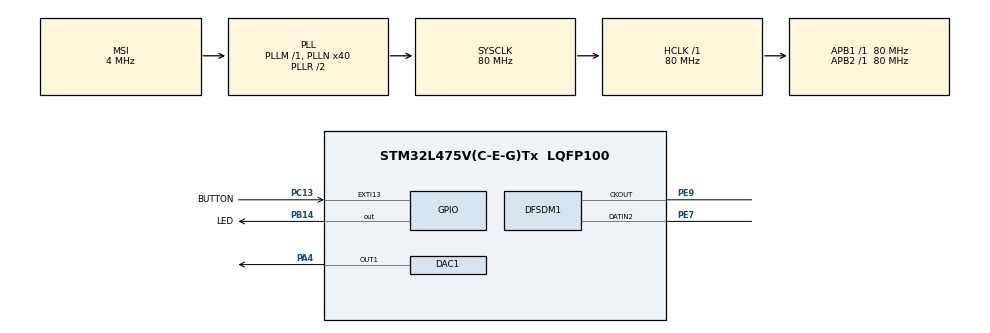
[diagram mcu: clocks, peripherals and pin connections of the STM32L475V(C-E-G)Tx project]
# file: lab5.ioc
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DAC1.DAC_Trigger-DAC_OUT1=DAC_TRIGGER_T2_TRGO
DFSDM1.Divider=40
DFSDM1.DmaMode_reg_FIL0=ENABLE
DFSDM1.FastMode_reg_FIL0=ENABLE
DFSDM1.Filter_regChannel_FIL0=DFSDM_CHANNEL_2
DFSDM1.Fosr_FIL0=100
DFSDM1.SincOrder_FIL0=DFSDM_FILTER_SINC3_ORDER
Dma.DAC_CH1.0.Direction=DMA_MEMORY_TO_PERIPH
Dma.DAC_CH1.0.Instance=DMA1_Channel3
Dma.DAC_CH1.0.MemDataAlignment=DMA_MDATAALIGN_WORD
Dma.DAC_CH1.0.MemInc=DMA_MINC_ENABLE
Dma.DAC_CH1.0.Mode=DMA_CIRCULAR
Dma.DAC_CH1.0.PeriphDataAlignment=DMA_PDATAALIGN_WORD
Dma.DAC_CH1.0.PeriphInc=DMA_PINC_DISABLE
Dma.DAC_CH1.0.Priority=DMA_PRIORITY_LOW
Dma.DFSDM1_FLT0.1.Direction=DMA_PERIPH_TO_MEMORY
Dma.DFSDM1_FLT0.1.Instance=DMA1_Channel4
Dma.DFSDM1_FLT0.1.MemDataAlignment=DMA_MDATAALIGN_WORD
Dma.DFSDM1_FLT0.1.MemInc=DMA_MINC_ENABLE
Dma.DFSDM1_FLT0.1.Mode=DMA_NORMAL
Dma.DFSDM1_FLT0.1.PeriphDataAlignment=DMA_PDATAALIGN_WORD
Dma.DFSDM1_FLT0.1.PeriphInc=DMA_PINC_DISABLE
Dma.DFSDM1_FLT0.1.Priority=DMA_PRIORITY_LOW
Dma.Request0=DAC_CH1
Dma.Request1=DFSDM1_FLT0
Mcu.Family=STM32L4
Mcu.Name=STM32L475V(C-E-G)Tx
Mcu.Package=LQFP100
NVIC.DFSDM1_FLT0_IRQn=true\:0\:0\:false\:false\:true\:true\:true
NVIC.DMA1_Channel3_IRQn=true\:0\:0\:false\:false\:true\:false\:true
NVIC.DMA1_Channel4_IRQn=true\:0\:0\:false\:false\:true\:false\:true
NVIC.EXTI15_10_IRQn=true\:0\:0\:false\:false\:true\:true\:true
NVIC.PriorityGroup=NVIC_PRIORITYGROUP_4
NVIC.TIM2_IRQn=true\:0\:0\:false\:false\:true\:true\:true
PA4.Signal=COMP_DAC11_group
PB14.GPIO_Label=LED
PB14.Signal=GPIO_Output
PC13.GPIO_Label=BUTTON
PC13.GPIO_ModeDefaultEXTI=GPIO_MODE_IT_FALLING
PC13.Signal=GPXTI13
PE7.Signal=S_DATAIN2DFSDM1
PE9.Signal=S_CKOUTDFSDM1
ProjectManager.HeapSize=0x200
ProjectManager.StackSize=0x400
ProjectManager.TargetToolchain=STM32CubeIDE
RCC.ADCFreq_Value=48000000
RCC.AHBFreq_Value=80000000
RCC.APB1Freq_Value=80000000
RCC.APB1TimFreq_Value=80000000
RCC.APB2Freq_Value=80000000
RCC.APB2TimFreq_Value=80000000
RCC.CortexFreq_Value=80000000
RCC.HCLKFreq_Value=80000000
RCC.HSE_VALUE=8000000
RCC.HSI_VALUE=16000000
RCC.LSE_VALUE=32768
RCC.MSI_VALUE=4000000
RCC.PLLN=40
RCC.PLLSAI1N=24
RCC.SYSCLKFreq_VALUE=80000000
RCC.SYSCLKSource=RCC_SYSCLKSOURCE_PLLCLK
RCC.USBFreq_Value=48000000
RCC.VCOOutputFreq_Value=160000000
SH.COMP_DAC11_group.0=DAC1_OUT1,DAC_OUT1
SH.S_CKOUTDFSDM1.0=DFSDM1_CKOUT,PDM_SPI_input_from_ch2_and_internal_clock
SH.S_DATAIN2DFSDM1.0=DFSDM1_DATIN2,PDM_SPI_input_from_ch2_and_internal_clock
TIM2.Period=4000
TIM2.TIM_MasterOutputTrigger=TIM_TRGO_UPDATE
VP_TIM2_VS_ClockSourceINT.Mode=Internal
board=B-L475E-IOT01A1

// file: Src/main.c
/* USER CODE BEGIN Header */
/**
  ******************************************************************************
  * @file           : main.c
  * @brief          : Main program body
  ******************************************************************************
  * @attention
  *
  * <h2><center>&copy; Copyright (c) 2020 STMicroelectronics.
  * All rights reserved.</center></h2>
  *
  * This software component is licensed by ST under BSD 3-Clause license,
  * the "License"; You may not use this file except in compliance with the
  * License. You may obtain a copy of the License at:
  *                        opensource.org/licenses/BSD-3-Clause
  *
  ******************************************************************************
  */
/* USER CODE END Header */
#include "main.h"

DAC_HandleTypeDef hdac1;
DMA_HandleTypeDef hdma_dac_ch1;

DFSDM_Filter_HandleTypeDef hdfsdm1_filter0;
DFSDM_Channel_HandleTypeDef hdfsdm1_channel2;
DMA_HandleTypeDef hdma_dfsdm1_flt0;

TIM_HandleTypeDef htim2;

/* USER CODE BEGIN PV */
#define BUFFER_SIZE 20000
int32_t audio[BUFFER_SIZE];
/* USER CODE END PV */

void SystemClock_Config(void);
static void MX_GPIO_Init(void);
static void MX_DMA_Init(void);
static void MX_DAC1_Init(void);
static void MX_TIM2_Init(void);
static void MX_DFSDM1_Init(void);
/* USER CODE BEGIN PFP */
void HAL_GPIO_EXTI_Callback(uint16_t GPIO_Pin);
void HAL_DFSDM_FilterRegConvCpltCallback(DFSDM_Filter_HandleTypeDef* hdfsdm_filter);
/* USER CODE END PFP */

int main(void)
{

  /* MCU Configuration--------------------------------------------------------*/

  /* Reset of all peripherals, Initializes the Flash interface and the Systick. */
  HAL_Init();

  /* Configure the system clock */
  SystemClock_Config();

  /* Initialize all configured peripherals */
  MX_GPIO_Init();
  MX_DMA_Init();
  MX_DAC1_Init();
  MX_TIM2_Init();
  MX_DFSDM1_Init();
  /* USER CODE BEGIN 2 */
  HAL_TIM_Base_Start(&htim2);
  /* USER CODE END 2 */

  /* Infinite loop */
  while (1)
  {

  }
}

void SystemClock_Config(void)
{
  RCC_OscInitTypeDef RCC_OscInitStruct = {0};
  RCC_ClkInitTypeDef RCC_ClkInitStruct = {0};
  RCC_PeriphCLKInitTypeDef PeriphClkInit = {0};

  /** Initializes the RCC Oscillators according to the specified parameters
  * in the RCC_OscInitTypeDef structure.
  */
  RCC_OscInitStruct.OscillatorType = RCC_OSCILLATORTYPE_MSI;
  RCC_OscInitStruct.MSIState = RCC_MSI_ON;
  RCC_OscInitStruct.MSICalibrationValue = 0;
  RCC_OscInitStruct.MSIClockRange = RCC_MSIRANGE_6;
  RCC_OscInitStruct.PLL.PLLState = RCC_PLL_ON;
  RCC_OscInitStruct.PLL.PLLSource = RCC_PLLSOURCE_MSI;
  RCC_OscInitStruct.PLL.PLLM = 1;
  RCC_OscInitStruct.PLL.PLLN = 40;
  RCC_OscInitStruct.PLL.PLLP = RCC_PLLP_DIV7;
  RCC_OscInitStruct.PLL.PLLQ = RCC_PLLQ_DIV2;
  RCC_OscInitStruct.PLL.PLLR = RCC_PLLR_DIV2;
  if (HAL_RCC_OscConfig(&RCC_OscInitStruct) != HAL_OK)
  {
    Error_Handler();
  }
  /** Initializes the CPU, AHB and APB buses clocks
  */
  RCC_ClkInitStruct.ClockType = RCC_CLOCKTYPE_HCLK|RCC_CLOCKTYPE_SYSCLK
                              |RCC_CLOCKTYPE_PCLK1|RCC_CLOCKTYPE_PCLK2;
  RCC_ClkInitStruct.SYSCLKSource = RCC_SYSCLKSOURCE_PLLCLK;
  RCC_ClkInitStruct.AHBCLKDivider = RCC_SYSCLK_DIV1;
  RCC_ClkInitStruct.APB1CLKDivider = RCC_HCLK_DIV1;
  RCC_ClkInitStruct.APB2CLKDivider = RCC_HCLK_DIV1;

  if (HAL_RCC_ClockConfig(&RCC_ClkInitStruct, FLASH_LATENCY_4) != HAL_OK)
  {
    Error_Handler();
  }
  PeriphClkInit.PeriphClockSelection = RCC_PERIPHCLK_DFSDM1;
  PeriphClkInit.Dfsdm1ClockSelection = RCC_DFSDM1CLKSOURCE_PCLK;
  if (HAL_RCCEx_PeriphCLKConfig(&PeriphClkInit) != HAL_OK)
  {
    Error_Handler();
  }
  /** Configure the main internal regulator output voltage
  */
  if (HAL_PWREx_ControlVoltageScaling(PWR_REGULATOR_VOLTAGE_SCALE1) != HAL_OK)
  {
    Error_Handler();
  }
}

static void MX_DAC1_Init(void)
{

  DAC_ChannelConfTypeDef sConfig = {0};

  /** DAC Initialization
  */
  hdac1.Instance = DAC1;
  if (HAL_DAC_Init(&hdac1) != HAL_OK)
  {
    Error_Handler();
  }
  /** DAC channel OUT1 config
  */
  sConfig.DAC_SampleAndHold = DAC_SAMPLEANDHOLD_DISABLE;
  sConfig.DAC_Trigger = DAC_TRIGGER_T2_TRGO;
  sConfig.DAC_OutputBuffer = DAC_OUTPUTBUFFER_ENABLE;
  sConfig.DAC_ConnectOnChipPeripheral = DAC_CHIPCONNECT_DISABLE;
  sConfig.DAC_UserTrimming = DAC_TRIMMING_FACTORY;
  if (HAL_DAC_ConfigChannel(&hdac1, &sConfig, DAC_CHANNEL_1) != HAL_OK)
  {
    Error_Handler();
  }

}

static void MX_DFSDM1_Init(void)
{

  hdfsdm1_filter0.Instance = DFSDM1_Filter0;
  hdfsdm1_filter0.Init.RegularParam.Trigger = DFSDM_FILTER_SW_TRIGGER;
  hdfsdm1_filter0.Init.RegularParam.FastMode = ENABLE;
  hdfsdm1_filter0.Init.RegularParam.DmaMode = ENABLE;
  hdfsdm1_filter0.Init.FilterParam.SincOrder = DFSDM_FILTER_SINC3_ORDER;
  hdfsdm1_filter0.Init.FilterParam.Oversampling = 100;
  hdfsdm1_filter0.Init.FilterParam.IntOversampling = 1;
  if (HAL_DFSDM_FilterInit(&hdfsdm1_filter0) != HAL_OK)
  {
    Error_Handler();
  }
  hdfsdm1_channel2.Instance = DFSDM1_Channel2;
  hdfsdm1_channel2.Init.OutputClock.Activation = ENABLE;
  hdfsdm1_channel2.Init.OutputClock.Selection = DFSDM_CHANNEL_OUTPUT_CLOCK_SYSTEM;
  hdfsdm1_channel2.Init.OutputClock.Divider = 40;
  hdfsdm1_channel2.Init.Input.Multiplexer = DFSDM_CHANNEL_EXTERNAL_INPUTS;
  hdfsdm1_channel2.Init.Input.DataPacking = DFSDM_CHANNEL_STANDARD_MODE;
  hdfsdm1_channel2.Init.Input.Pins = DFSDM_CHANNEL_SAME_CHANNEL_PINS;
  hdfsdm1_channel2.Init.SerialInterface.Type = DFSDM_CHANNEL_SPI_RISING;
  hdfsdm1_channel2.Init.SerialInterface.SpiClock = DFSDM_CHANNEL_SPI_CLOCK_INTERNAL;
  hdfsdm1_channel2.Init.Awd.FilterOrder = DFSDM_CHANNEL_FASTSINC_ORDER;
  hdfsdm1_channel2.Init.Awd.Oversampling = 1;
  hdfsdm1_channel2.Init.Offset = 0;
  hdfsdm1_channel2.Init.RightBitShift = 0x00;
  if (HAL_DFSDM_ChannelInit(&hdfsdm1_channel2) != HAL_OK)
  {
    Error_Handler();
  }
  if (HAL_DFSDM_FilterConfigRegChannel(&hdfsdm1_filter0, DFSDM_CHANNEL_2, DFSDM_CONTINUOUS_CONV_ON) != HAL_OK)
  {
    Error_Handler();
  }

}

static void MX_TIM2_Init(void)
{

  TIM_ClockConfigTypeDef sClockSourceConfig = {0};
  TIM_MasterConfigTypeDef sMasterConfig = {0};

  htim2.Instance = TIM2;
  htim2.Init.Prescaler = 0;
  htim2.Init.CounterMode = TIM_COUNTERMODE_UP;
  htim2.Init.Period = 4000;
  htim2.Init.ClockDivision = TIM_CLOCKDIVISION_DIV1;
  htim2.Init.AutoReloadPreload = TIM_AUTORELOAD_PRELOAD_DISABLE;
  if (HAL_TIM_Base_Init(&htim2) != HAL_OK)
  {
    Error_Handler();
  }
  sClockSourceConfig.ClockSource = TIM_CLOCKSOURCE_INTERNAL;
  if (HAL_TIM_ConfigClockSource(&htim2, &sClockSourceConfig) != HAL_OK)
  {
    Error_Handler();
  }
  sMasterConfig.MasterOutputTrigger = TIM_TRGO_UPDATE;
  sMasterConfig.MasterSlaveMode = TIM_MASTERSLAVEMODE_DISABLE;
  if (HAL_TIMEx_MasterConfigSynchronization(&htim2, &sMasterConfig) != HAL_OK)
  {
    Error_Handler();
  }

}

static void MX_DMA_Init(void)
{

  /* DMA controller clock enable */
  __HAL_RCC_DMA1_CLK_ENABLE();

  /* DMA interrupt init */
  /* DMA1_Channel3_IRQn interrupt configuration */
  HAL_NVIC_SetPriority(DMA1_Channel3_IRQn, 0, 0);
  HAL_NVIC_EnableIRQ(DMA1_Channel3_IRQn);
  /* DMA1_Channel4_IRQn interrupt configuration */
  HAL_NVIC_SetPriority(DMA1_Channel4_IRQn, 0, 0);
  HAL_NVIC_EnableIRQ(DMA1_Channel4_IRQn);

}

static void MX_GPIO_Init(void)
{
  GPIO_InitTypeDef GPIO_InitStruct = {0};

  /* GPIO Ports Clock Enable */
  __HAL_RCC_GPIOC_CLK_ENABLE();
  __HAL_RCC_GPIOA_CLK_ENABLE();
  __HAL_RCC_GPIOE_CLK_ENABLE();
  __HAL_RCC_GPIOB_CLK_ENABLE();

  /*Configure GPIO pin Output Level */
  HAL_GPIO_WritePin(LED_GPIO_Port, LED_Pin, GPIO_PIN_RESET);

  /*Configure GPIO pin : BUTTON_Pin */
  GPIO_InitStruct.Pin = BUTTON_Pin;
  GPIO_InitStruct.Mode = GPIO_MODE_IT_FALLING;
  GPIO_InitStruct.Pull = GPIO_NOPULL;
  HAL_GPIO_Init(BUTTON_GPIO_Port, &GPIO_InitStruct);

  /*Configure GPIO pin : LED_Pin */
  GPIO_InitStruct.Pin = LED_Pin;
  GPIO_InitStruct.Mode = GPIO_MODE_OUTPUT_PP;
  GPIO_InitStruct.Pull = GPIO_NOPULL;
  GPIO_InitStruct.Speed = GPIO_SPEED_FREQ_LOW;
  HAL_GPIO_Init(LED_GPIO_Port, &GPIO_InitStruct);

  /* EXTI interrupt init*/
  HAL_NVIC_SetPriority(EXTI15_10_IRQn, 0, 0);
  HAL_NVIC_EnableIRQ(EXTI15_10_IRQn);

}

/* USER CODE BEGIN 4 */
void HAL_GPIO_EXTI_Callback(uint16_t GPIO_Pin) {
	if (GPIO_Pin == BUTTON_Pin) {
		HAL_GPIO_TogglePin(LED_GPIO_Port, LED_Pin);
		HAL_DAC_Stop_DMA(&hdac1, DAC_CHANNEL_1);
		HAL_DFSDM_FilterRegularStart_DMA(&hdfsdm1_filter0, audio, BUFFER_SIZE);
	}
}

void HAL_DFSDM_FilterRegConvCpltCallback(DFSDM_Filter_HandleTypeDef* hdfsdm_filter) {
	HAL_DFSDM_FilterRegularStop_DMA(hdfsdm_filter);
	for (int i = 0; i < BUFFER_SIZE; i++) {
		audio[i] = audio[i] >> 20;
		if (audio[i] > 3600) {
			audio[i] = ((double) (3600 / 4096)) * audio[i];
		}
	}
	HAL_DAC_Start_DMA(&hdac1, DAC_CHANNEL_1, (uint32_t*) audio, BUFFER_SIZE, DAC_ALIGN_12B_R);
}
/* USER CODE END 4 */

void Error_Handler(void)
{
}

/************************ (C) COPYRIGHT STMicroelectronics *****END OF FILE****/
